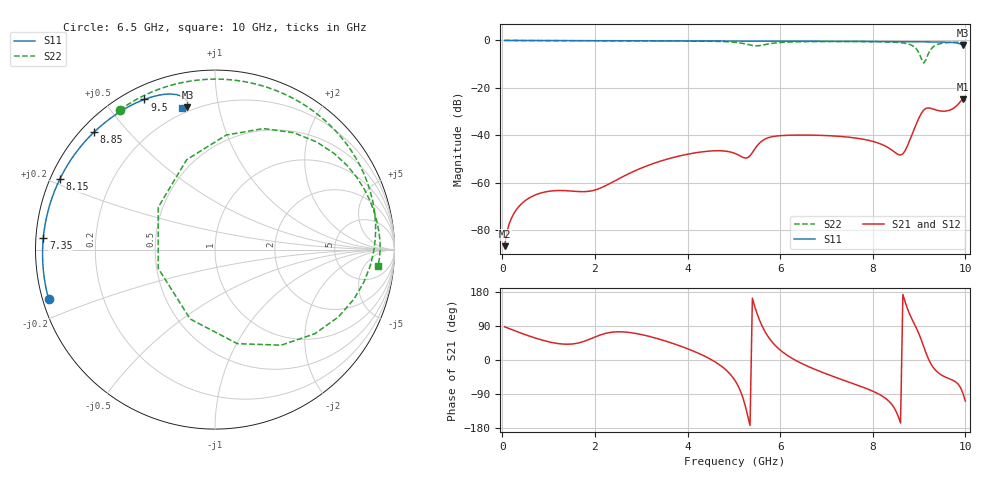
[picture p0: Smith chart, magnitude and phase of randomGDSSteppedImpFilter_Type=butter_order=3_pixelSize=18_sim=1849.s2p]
! freq	dB(S11)	phase(S11)	dB(S12)	phase(S12)
!  dB(S21)	phase(S21)	dB(S22)	phase(S22)
!S-par simulation data
#  GHz  S  DB  R 50
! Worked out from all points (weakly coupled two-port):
!   200 points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, 50 MHz to 10 GHz, reference 50 ohm
!   highest |S21| = -24.78 dB at 9.95 GHz (marker M1); lowest = -86.9 dB at 50 MHz (marker M2)
!   lowest |S11| = -1.9 dB at 9.95 GHz (marker M3), VSWR 9.40, Z = 8.87 + j40.5 ohm
!   |S11| at or under -10 dB: nowhere
!   |S22| runs from -9.5 to 0.0 dB; largest |S21 - S12| = 0
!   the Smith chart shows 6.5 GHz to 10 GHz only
!   S11 on the Smith chart (normalised r, x): 6.5 GHz: 0.02, -0.15; 7.35 GHz: 0.02, +0.03; 8.15 GHz: 0.03, +0.22; 8.85 GHz: 0.04, +0.41; 9.5 GHz: 0.06, +0.63; 10 GHz: 0.17, +0.78
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0.05  -0.00 -1.4  -86.86 87.6  -86.86 87.6  -0.00 -3.4
0.65  -0.02 -18.3  -65.79 60.4  -65.79 60.4  -0.06 -43.4
1.75  -0.06 -48.5  -63.85 48.6  -63.85 48.6  -0.11 -106.7
3.4  -0.12 -90.8  -51.06 54.7  -51.06 54.7  -0.18 179.1
4.4  -0.16 -114.7  -46.84 8.3  -46.84 8.3  -0.30 130.4
5.05  -0.19 -129.7  -47.92 -58.9  -47.92 -58.9  -0.83 68.8
5.35  -0.21 -136.7  -48.67 -172.8  -48.67 -172.8  -1.92 -6.1
5.55  -0.22 -141.3  -43.43 106.6  -43.43 106.6  -2.19 -85.7
5.85  -0.24 -148.2  -40.56 44.2  -40.56 44.2  -1.16 -168.6
6.5  -0.29 -163.3  -39.95 -11.2  -39.95 -11.2  -0.52 124.4
6.7  -0.31 -168.0  -39.98 -22.2  -39.98 -22.2  -0.48 111.9
7.35  -0.37 176.2  -40.60 -52.4  -40.60 -52.4  -0.45 77.3
8.15  -0.45 155.5  -43.56 -91.4  -43.56 -91.4  -0.56 35.8
8.35  -0.47 150.0  -45.48 -109.0  -45.48 -109.0  -0.65 23.6
8.65  -0.51 141.6  -47.89 173.2  -47.89 173.2  -1.06 -0.4
8.85  -0.54 135.7  -39.63 107.0  -39.63 107.0  -2.13 -28.7
9  -0.57 131.3  -32.61 68.0  -32.61 68.0  -5.38 -76.7
9.15  -0.59 126.7  -28.66 18.4  -28.66 18.4  -8.07 143.3
9.3  -0.62 121.9  -28.96 -18.6  -28.96 -18.6  -2.78 68.2
9.5  -0.68 115.1  -29.86 -40.8  -29.86 -40.8  -1.18 32.5
9.95  -1.86 101.0  -24.78 -89.1  -24.78 -89.1  -0.75 -3.1
10  -1.83 103.0  -25.07 -108.2  -25.07 -108.2  -0.78 -5.6
